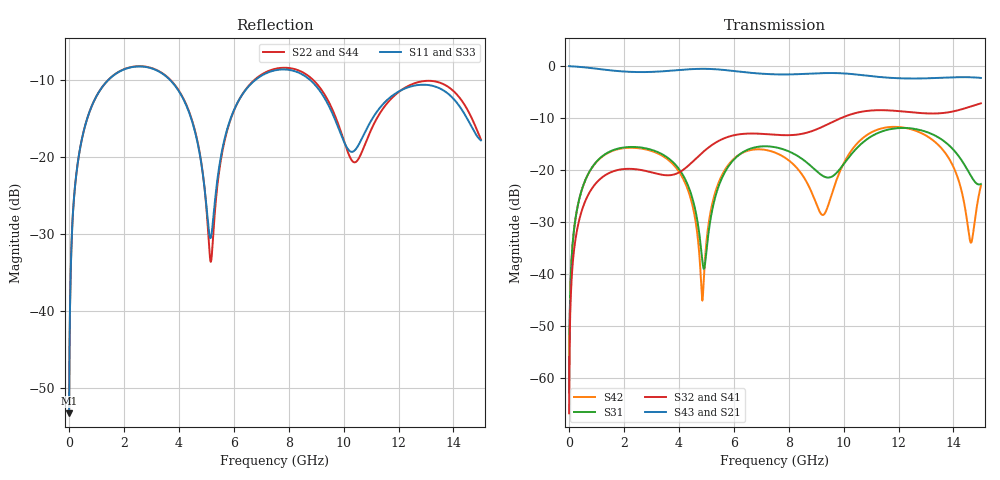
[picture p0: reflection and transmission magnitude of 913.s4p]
! Created with skrf 1.8.0 (http://scikit-rf.org).
# GHz S RI R 50.0
!freq ReS11 ImS11 ReS12 ImS12 ReS13 ImS13
! ReS14 ImS14
! ReS21 ImS21 ReS22 ImS22 ReS23 ImS23
! ReS24 ImS24
! ReS31 ImS31 ReS32 ImS32 ReS33 ImS33
! ReS34 ImS34
! ReS41 ImS41 ReS42 ImS42 ReS43 ImS43
! ReS44 ImS44
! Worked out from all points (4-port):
!   2499 points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, 5 MHz to 15 GHz, reference 50 ohm
!   strongest paths, dB at 5 MHz, 3.476 GHz, 7.19 GHz, 11.1 GHz, 15 GHz:
!     S43: 0.0, -1.0, -1.5, -2.0, -2.3
!     S21: 0.0, -1.0, -1.5, -2.0, -2.3
!     S32: -66.8, -21.0, -13.1, -8.5, -7.2
!     S41: -66.8, -21.0, -13.1, -8.5, -7.2
!     S31: -62.8, -17.2, -15.4, -13.3, -22.7
!     S42: -62.8, -17.5, -16.2, -12.5, -23.0
!   lowest |S11| = -53.2 dB at 5 MHz (marker M1), VSWR 1.00, Z = 50.2 + j0.132 ohm
!   |S11| at or under -10 dB: start of sweep to 1.424 GHz; 3.689 GHz to 6.775 GHz (3.086 GHz wide, 59 % of centre); 8.79 GHz to end of sweep
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0.005  0.00174 0.00131  0.9982 -0.00338  8.87e-05 0.000721  -8.59e-05 -0.000447
       0.9982 -0.00338  0.00174 0.00131  -8.59e-05 -0.000447  8.86e-05 0.000721
       8.87e-05 0.000721  -8.59e-05 -0.000447  0.00174 0.00131  0.9982 -0.00338
       -8.59e-05 -0.000447  8.86e-05 0.000721  0.9982 -0.00338  0.00174 0.00131
0.3126303  0.0265 0.086  0.9637 -0.2097  0.013 0.0425  -0.0106 -0.026
           0.9637 -0.2097  0.0265 0.086  -0.0106 -0.026  0.0126 0.0426
           0.013 0.0425  -0.0106 -0.026  0.0265 0.086  0.9637 -0.2097
           -0.0106 -0.026  0.0126 0.0426  0.9637 -0.2097  0.0265 0.086
1.569404  0.2888 0.1676  0.5023 -0.7545  0.1438 0.0546  -0.0962 0.00222
          0.5023 -0.7545  0.2905 0.1663  -0.0962 0.00218  0.1391 0.0617
          0.1438 0.0546  -0.0962 0.00218  0.2889 0.1676  0.5022 -0.7545
          -0.0962 0.00222  0.1391 0.0617  0.5022 -0.7545  0.2906 0.1664
4.852022  0.043 -0.0711  -0.9057 -0.2569  -0.0114 -0.00752  -0.0351 0.1422
          -0.9057 -0.2569  0.035 -0.0764  -0.0357 0.1421  0.00556 -0.000322
          -0.0114 -0.00752  -0.0357 0.1421  0.0426 -0.0729  -0.9055 -0.2571
          -0.0351 0.1422  0.00556 -0.000322  -0.9055 -0.2571  0.0364 -0.0778
7.928303  0.3704 -0.0102  -0.035 0.83  0.1129 -0.1047  0.2118 -0.0432
          -0.035 0.83  0.3804 -0.0156  0.212 -0.0424  0.1114 -0.0631
          0.1129 -0.1047  0.212 -0.0424  0.3691 -0.00918  -0.0337 0.8306
          0.2118 -0.0432  0.1114 -0.0631  -0.0337 0.8306  0.379 -0.0179
10.71071  0.1306 0.0424  0.8156 -0.0492  0.0341 0.1818  -0.0462 -0.3633
          0.8156 -0.0492  0.1085 0.0319  -0.0441 -0.3632  0.0629 0.194
          0.0341 0.1818  -0.0441 -0.3632  0.1322 0.0457  0.815 -0.0533
          -0.0462 -0.3633  0.0629 0.194  0.815 -0.0533  0.108 0.0345
15  0.1274 -0.0186  -0.6397 -0.4289  -0.0726 0.0105  -0.2336 0.3692
    -0.6397 -0.4289  0.1122 -0.0669  -0.2397 0.3666  -0.0303 0.0636
    -0.0726 0.0105  -0.2397 0.3666  0.1232 -0.0289  -0.6423 -0.4234
    -0.2336 0.3692  -0.0303 0.0636  -0.6423 -0.4234  0.123 -0.0693
